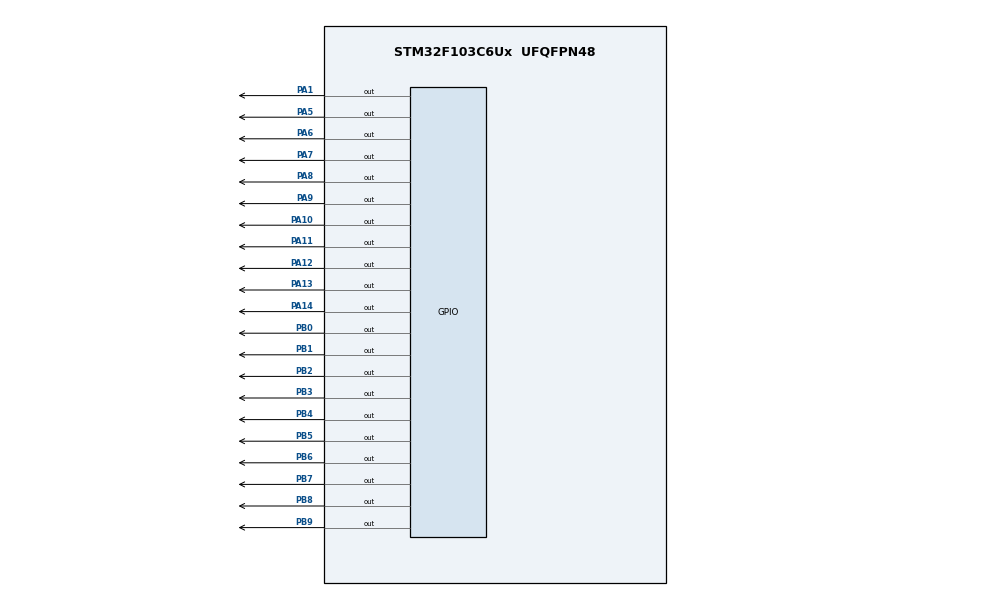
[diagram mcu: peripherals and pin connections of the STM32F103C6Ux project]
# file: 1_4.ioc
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Mcu.Family=STM32F1
Mcu.Name=STM32F103C6Ux
Mcu.Package=UFQFPN48
NVIC.PriorityGroup=NVIC_PRIORITYGROUP_4
NVIC.TIM2_IRQn=true\:0\:0\:false\:false\:true\:true\:true\:true
PA1.Signal=GPIO_Output
PA10.Signal=GPIO_Output
PA11.Signal=GPIO_Output
PA12.Signal=GPIO_Output
PA13.Signal=GPIO_Output
PA14.Signal=GPIO_Output
PA5.Signal=GPIO_Output
PA6.Signal=GPIO_Output
PA7.Signal=GPIO_Output
PA8.Signal=GPIO_Output
PA9.Signal=GPIO_Output
PB0.Signal=GPIO_Output
PB1.Signal=GPIO_Output
PB2.Signal=GPIO_Output
PB3.Signal=GPIO_Output
PB4.Signal=GPIO_Output
PB5.Signal=GPIO_Output
PB6.Signal=GPIO_Output
PB7.Signal=GPIO_Output
PB8.Signal=GPIO_Output
PB9.Signal=GPIO_Output
ProjectManager.HeapSize=0x200
ProjectManager.StackSize=0x400
ProjectManager.TargetToolchain=STM32CubeIDE
RCC.APB1Freq_Value=8000000
RCC.APB2Freq_Value=8000000
TIM2.Period=9
TIM2.Prescaler=7999
VP_TIM2_VS_ClockSourceINT.Mode=Internal
board=custom

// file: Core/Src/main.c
/* USER CODE BEGIN Header */
/**
  ******************************************************************************
  * @file           : main.c
  * @brief          : Main program body
  ******************************************************************************
  * @attention
  *
  * Copyright (c) 2023 STMicroelectronics.
  * All rights reserved.
  *
  * This software is licensed under terms that can be found in the LICENSE file
  * in the root directory of this software component.
  * If no LICENSE file comes with this software, it is provided AS-IS.
  *
  ******************************************************************************
  */
/* USER CODE END Header */
#include "main.h"

/* USER CODE BEGIN Includes */
#include "softwaretimer.h"
#include "7segments.h"
/* USER CODE END Includes */

TIM_HandleTypeDef htim2;

void SystemClock_Config(void);
static void MX_GPIO_Init(void);
static void MX_TIM2_Init(void);

int main(void)
{

  /* MCU Configuration--------------------------------------------------------*/

  /* Reset of all peripherals, Initializes the Flash interface and the Systick. */
  HAL_Init();

  /* Configure the system clock */
  SystemClock_Config();

  /* Initialize all configured peripherals */
  MX_GPIO_Init();
  MX_TIM2_Init();
  /* USER CODE BEGIN 2 */
  HAL_TIM_Base_Start_IT(&htim2);
  struct Sevenled ledA;
  struct Sevenled ledB;

  Initialize7Segments(&ledA, GPIOA, GPIO_PIN_8, GPIO_PIN_9, GPIO_PIN_10, GPIO_PIN_11, GPIO_PIN_12, GPIO_PIN_13, GPIO_PIN_14);
  Initialize7Segments(&ledB, GPIOB, GPIO_PIN_3, GPIO_PIN_4, GPIO_PIN_5, GPIO_PIN_6, GPIO_PIN_7, GPIO_PIN_8, GPIO_PIN_9);
  unsigned short lednumA = 5;
  unsigned short lednumB = 3;
  int trigger2A = 0;
  int trigger3A = 1;
  int trigger5A = 0;
  int trigger2B = 1;
  int trigger3B = 0;
  int trigger5B = 0;
  int status = 0;

  setTimer(300);
  setTimer0(100);
  setTimer1(100);
  setTimer2(100);
  /* USER CODE END 2 */

  /* Infinite loop */
  while (1)
      {
    	  if (timerflag0 == 1) {
    		  			HAL_GPIO_TogglePin(GPIOA, GPIO_PIN_1);
    		  			setTimer0(100);
    		  		}
    	switch(status)
    		{
    		case 1:
    			HAL_GPIO_WritePin(GPIOA, GPIO_PIN_5, 1);
    			HAL_GPIO_WritePin(GPIOA, GPIO_PIN_6, 0);
    			HAL_GPIO_WritePin(GPIOA, GPIO_PIN_7, 0);
    			HAL_GPIO_WritePin(GPIOB, GPIO_PIN_0, 0);
    			HAL_GPIO_WritePin(GPIOB, GPIO_PIN_1, 0);
    			HAL_GPIO_WritePin(GPIOB, GPIO_PIN_2, 1);
    			if (timerflag == 1) {
    				status = 2;
    				setTimer(200);
    			}
    			break;
    		case 2:
    			HAL_GPIO_WritePin(GPIOA, GPIO_PIN_5, 1);
    			HAL_GPIO_WritePin(GPIOA, GPIO_PIN_6, 0);
    			HAL_GPIO_WritePin(GPIOA, GPIO_PIN_7, 0);
    			HAL_GPIO_WritePin(GPIOB, GPIO_PIN_0, 0);
    			HAL_GPIO_WritePin(GPIOB, GPIO_PIN_1, 1);
    			HAL_GPIO_WritePin(GPIOB, GPIO_PIN_2, 0);
    			if (timerflag == 1) {
    				status = 3;
    				setTimer(300);
    			}
    			break;
    		case 3:
    			HAL_GPIO_WritePin(GPIOA, GPIO_PIN_5, 0);
    			HAL_GPIO_WritePin(GPIOA, GPIO_PIN_6, 0);
    			HAL_GPIO_WritePin(GPIOA, GPIO_PIN_7, 1);
    			HAL_GPIO_WritePin(GPIOB, GPIO_PIN_0, 1);
    			HAL_GPIO_WritePin(GPIOB, GPIO_PIN_1, 0);
    			HAL_GPIO_WritePin(GPIOB, GPIO_PIN_2, 0);
    			if (timerflag == 1) {
    				status = 4;
    				setTimer(200);
    			}
    			break;
    		case 4:
    			HAL_GPIO_WritePin(GPIOA, GPIO_PIN_5, 0);
    			HAL_GPIO_WritePin(GPIOA, GPIO_PIN_6, 1);
    			HAL_GPIO_WritePin(GPIOA, GPIO_PIN_7, 0);
    			HAL_GPIO_WritePin(GPIOB, GPIO_PIN_0, 1);
    			HAL_GPIO_WritePin(GPIOB, GPIO_PIN_1, 0);
    			HAL_GPIO_WritePin(GPIOB, GPIO_PIN_2, 0);
    			if (timerflag == 1) {
    				status = 1;
    				setTimer(300);
    			}
    			break;
    		default:
    			HAL_GPIO_WritePin(GPIOA, GPIO_PIN_5, 1);
    			HAL_GPIO_WritePin(GPIOA, GPIO_PIN_6, 0);
    			HAL_GPIO_WritePin(GPIOA, GPIO_PIN_7, 0);
    			HAL_GPIO_WritePin(GPIOB, GPIO_PIN_0, 0);
    			HAL_GPIO_WritePin(GPIOB, GPIO_PIN_1, 0);
    			HAL_GPIO_WritePin(GPIOB, GPIO_PIN_2, 1);
    			if (timerflag == 1) {
    				status = 2;
    				setTimer(200);
    			}
    			break;
    		}
		switch(lednumA)
			{
    	case 0:
    		SetAndDisplay7Segments(&ledA, 0);
    		if (timerflag1 == 1)
    		{
    			if (trigger5A) {lednumA = 5; trigger5A = 0; trigger3A = 1; setTimer1(80); break;}
    			if (trigger3A) {lednumA = 3; trigger3A = 0; trigger2A = 1; setTimer1(80); break;}
    			if (trigger2A) {lednumA = 2; trigger2A = 0; trigger5A = 1; setTimer1(80); break;}
    		}
    		break;
    	case 1:
    		SetAndDisplay7Segments(&ledA, 1);
    		if (timerflag1 == 1)
    		{
    			lednumA = 0;
				setTimer1(20);
    		}
    		break;
    	case 2:
    		SetAndDisplay7Segments(&ledA, 2);
    		if (timerflag1 == 1)
    		{
    			lednumA = 1;
				setTimer1(100);
    		}
    		break;
    	case 3:
    		SetAndDisplay7Segments(&ledA, 3);
    		if (timerflag1 == 1)
    		{
    			lednumA = 2;
				setTimer1(100);
    		}
    		break;
    	case 4:
    		SetAndDisplay7Segments(&ledA, 4);
    		if (timerflag1 == 1)
    		{
    			lednumA = 3;
				setTimer1(100);
    		}
    		break;
    	case 5:
    		SetAndDisplay7Segments(&ledA, 5);
    		if (timerflag1 == 1)
    		{
    			lednumA = 4;
				setTimer1(100);
    		}
    		break;
    	case 6:
    		SetAndDisplay7Segments(&ledA, 6);
    		if (timerflag1 == 1)
    		{
    			lednumA = 5;
				setTimer1(100);
    		}
    		break;
    	case 7:
    		SetAndDisplay7Segments(&ledA, 7);
    		if (timerflag1 == 1)
    		{
    			lednumA = 6;
				setTimer1(100);
    		}
    		break;
    	case 8:
    		SetAndDisplay7Segments(&ledA, 8);
    		if (timerflag1 == 1)
    		{
    			lednumA = 7;
				setTimer1(100);
    		}
    		break;
    	case 9:
    		SetAndDisplay7Segments(&ledA, 9);
    		if (timerflag1 == 1)
    		{
    			lednumA = 8;
				setTimer1(100);
    		}
    		break;
    	default:
    		SetAndDisplay7Segments(&ledA, 0);
			setTimer1(50);
			break;
    	}

    	switch(lednumB)
    	{
    	case 0:
    		SetAndDisplay7Segments(&ledB, 0);
    		if (timerflag2 == 1)
    		{
    			if (trigger5B) {lednumB = 5; trigger5B = 0; trigger3B = 1; setTimer2(80); break;}
    			if (trigger3B) {lednumB = 3; trigger3B = 0; trigger2B = 1; setTimer2(80); break;}
    			if (trigger2B) {lednumB = 2; trigger2B = 0; trigger5B = 1; setTimer2(80); break;}
    			setTimer2(80);
    		}
    		break;
    	case 1:
    		SetAndDisplay7Segments(&ledB, 1);
    		if (timerflag2 == 1)
    		{
    			lednumB = 0;
    			setTimer2(20);
    		}
    		break;
    	case 2:
    		SetAndDisplay7Segments(&ledB, 2);
    		if (timerflag2 == 1)
    		{
    			lednumB = 1;
    			setTimer2(100);
    		}
    		break;
    	case 3:
    		SetAndDisplay7Segments(&ledB, 3);
    		if (timerflag2 == 1)
    		{
    			lednumB = 2;
    			setTimer2(100);
    		}
    		break;
    	case 4:
    		SetAndDisplay7Segments(&ledB, 4);
    		if (timerflag2 == 1)
    		{
    			lednumB = 3;
    			setTimer2(100);
    		}
    		break;
    	case 5:
    		SetAndDisplay7Segments(&ledB, 5);
    		if (timerflag2 == 1)
    		{
    			lednumB = 4;
    			setTimer2(100);
    		}
    		break;
    	case 6:
    		SetAndDisplay7Segments(&ledB, 6);
    		if (timerflag2 == 1)
    		{
    			lednumB = 5;
    			setTimer2(100);
    		}
    		break;
    	case 7:
    		SetAndDisplay7Segments(&ledB, 7);
    		if (timerflag2 == 1)
    		{
    			lednumB = 6;
    			setTimer2(100);
    		}
    		break;
    	case 8:
    		SetAndDisplay7Segments(&ledB, 8);
    		if (timerflag2 == 1)
    		{
    			lednumB = 7;
    			setTimer2(100);
    		}
    		break;
    	case 9:
    		SetAndDisplay7Segments(&ledB, 9);
    		if (timerflag2 == 1)
    		{
    			lednumB = 8;
    			setTimer2(100);
    		}
    		break;
    	default:
    		SetAndDisplay7Segments(&ledB, 0);
    		setTimer2(50);
    		break;
    	}
      }
}

void SystemClock_Config(void)
{
  RCC_OscInitTypeDef RCC_OscInitStruct = {0};
  RCC_ClkInitTypeDef RCC_ClkInitStruct = {0};

  /** Initializes the RCC Oscillators according to the specified parameters
  * in the RCC_OscInitTypeDef structure.
  */
  RCC_OscInitStruct.OscillatorType = RCC_OSCILLATORTYPE_HSI;
  RCC_OscInitStruct.HSIState = RCC_HSI_ON;
  RCC_OscInitStruct.HSICalibrationValue = RCC_HSICALIBRATION_DEFAULT;
  RCC_OscInitStruct.PLL.PLLState = RCC_PLL_NONE;
  if (HAL_RCC_OscConfig(&RCC_OscInitStruct) != HAL_OK)
  {
    Error_Handler();
  }

  /** Initializes the CPU, AHB and APB buses clocks
  */
  RCC_ClkInitStruct.ClockType = RCC_CLOCKTYPE_HCLK|RCC_CLOCKTYPE_SYSCLK
                              |RCC_CLOCKTYPE_PCLK1|RCC_CLOCKTYPE_PCLK2;
  RCC_ClkInitStruct.SYSCLKSource = RCC_SYSCLKSOURCE_HSI;
  RCC_ClkInitStruct.AHBCLKDivider = RCC_SYSCLK_DIV1;
  RCC_ClkInitStruct.APB1CLKDivider = RCC_HCLK_DIV1;
  RCC_ClkInitStruct.APB2CLKDivider = RCC_HCLK_DIV1;

  if (HAL_RCC_ClockConfig(&RCC_ClkInitStruct, FLASH_LATENCY_0) != HAL_OK)
  {
    Error_Handler();
  }
}

static void MX_TIM2_Init(void)
{

  TIM_ClockConfigTypeDef sClockSourceConfig = {0};
  TIM_MasterConfigTypeDef sMasterConfig = {0};

  htim2.Instance = TIM2;
  htim2.Init.Prescaler = 7999;
  htim2.Init.CounterMode = TIM_COUNTERMODE_UP;
  htim2.Init.Period = 9;
  htim2.Init.ClockDivision = TIM_CLOCKDIVISION_DIV1;
  htim2.Init.AutoReloadPreload = TIM_AUTORELOAD_PRELOAD_DISABLE;
  if (HAL_TIM_Base_Init(&htim2) != HAL_OK)
  {
    Error_Handler();
  }
  sClockSourceConfig.ClockSource = TIM_CLOCKSOURCE_INTERNAL;
  if (HAL_TIM_ConfigClockSource(&htim2, &sClockSourceConfig) != HAL_OK)
  {
    Error_Handler();
  }
  sMasterConfig.MasterOutputTrigger = TIM_TRGO_RESET;
  sMasterConfig.MasterSlaveMode = TIM_MASTERSLAVEMODE_DISABLE;
  if (HAL_TIMEx_MasterConfigSynchronization(&htim2, &sMasterConfig) != HAL_OK)
  {
    Error_Handler();
  }

}

static void MX_GPIO_Init(void)
{
  GPIO_InitTypeDef GPIO_InitStruct = {0};

  /* GPIO Ports Clock Enable */
  __HAL_RCC_GPIOA_CLK_ENABLE();
  __HAL_RCC_GPIOB_CLK_ENABLE();

  /*Configure GPIO pin Output Level */
  HAL_GPIO_WritePin(GPIOA, GPIO_PIN_1|GPIO_PIN_5|GPIO_PIN_6|GPIO_PIN_7
                          |GPIO_PIN_8|GPIO_PIN_9|GPIO_PIN_10|GPIO_PIN_11
                          |GPIO_PIN_12|GPIO_PIN_13|GPIO_PIN_14, GPIO_PIN_RESET);

  /*Configure GPIO pin Output Level */
  HAL_GPIO_WritePin(GPIOB, GPIO_PIN_0|GPIO_PIN_1|GPIO_PIN_2|GPIO_PIN_3
                          |GPIO_PIN_4|GPIO_PIN_5|GPIO_PIN_6|GPIO_PIN_7
                          |GPIO_PIN_8|GPIO_PIN_9, GPIO_PIN_RESET);

  /*Configure GPIO pins : PA1 PA5 PA6 PA7
                           PA8 PA9 PA10 PA11
                           PA12 PA13 PA14 */
  GPIO_InitStruct.Pin = GPIO_PIN_1|GPIO_PIN_5|GPIO_PIN_6|GPIO_PIN_7
                          |GPIO_PIN_8|GPIO_PIN_9|GPIO_PIN_10|GPIO_PIN_11
                          |GPIO_PIN_12|GPIO_PIN_13|GPIO_PIN_14;
  GPIO_InitStruct.Mode = GPIO_MODE_OUTPUT_PP;
  GPIO_InitStruct.Pull = GPIO_NOPULL;
  GPIO_InitStruct.Speed = GPIO_SPEED_FREQ_LOW;
  HAL_GPIO_Init(GPIOA, &GPIO_InitStruct);

  /*Configure GPIO pins : PB0 PB1 PB2 PB3
                           PB4 PB5 PB6 PB7
                           PB8 PB9 */
  GPIO_InitStruct.Pin = GPIO_PIN_0|GPIO_PIN_1|GPIO_PIN_2|GPIO_PIN_3
                          |GPIO_PIN_4|GPIO_PIN_5|GPIO_PIN_6|GPIO_PIN_7
                          |GPIO_PIN_8|GPIO_PIN_9;
  GPIO_InitStruct.Mode = GPIO_MODE_OUTPUT_PP;
  GPIO_InitStruct.Pull = GPIO_NOPULL;
  GPIO_InitStruct.Speed = GPIO_SPEED_FREQ_LOW;
  HAL_GPIO_Init(GPIOB, &GPIO_InitStruct);

}

/* USER CODE BEGIN 4 */
void HAL_TIM_PeriodElapsedCallback(TIM_HandleTypeDef *htim)
{
	runTimer();
	runTimer0();
	runTimer1();
	runTimer2();
}
/* USER CODE END 4 */

void Error_Handler(void)
{
  __disable_irq();
  while (1)
  {
  }
}
